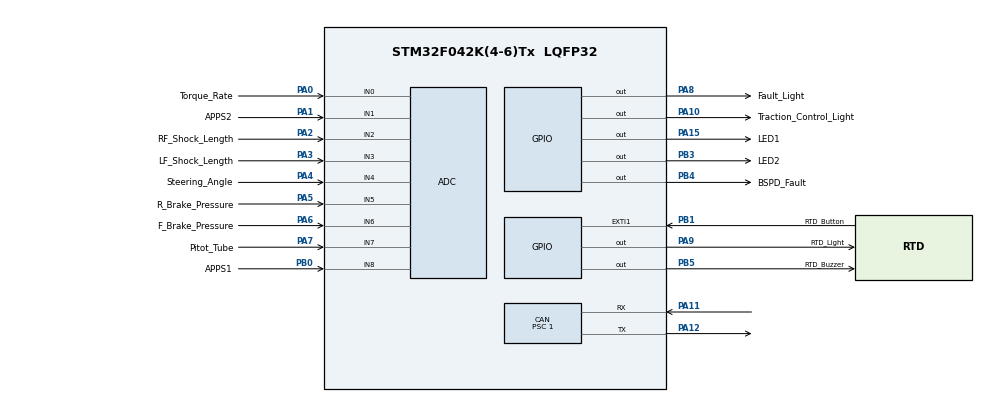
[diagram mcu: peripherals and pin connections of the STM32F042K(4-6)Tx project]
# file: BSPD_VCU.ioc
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ADC.ContinuousConvMode=DISABLE
ADC.DMAContinuousRequests=ENABLE
ADC.EOCSelection=ADC_EOC_SINGLE_CONV
ADC.EnableAnalogWatchDog=false
ADC.ExternalTrigConv=ADC_EXTERNALTRIGCONV_T1_TRGO
ADC.SamplingTime=ADC_SAMPLETIME_239CYCLES_5
CAN.ABOM=ENABLE
CAN.AWUM=ENABLE
CAN.BS1=CAN_BS1_13TQ
CAN.BS2=CAN_BS2_2TQ
CAN.CalculateBaudRate=500000
CAN.CalculateTimeBit=2000
CAN.CalculateTimeQuantum=125.0
CAN.NART=ENABLE
CAN.Prescaler=1
CAN.TXFP=ENABLE
Dma.ADC.0.Direction=DMA_PERIPH_TO_MEMORY
Dma.ADC.0.Instance=DMA1_Channel1
Dma.ADC.0.MemDataAlignment=DMA_MDATAALIGN_HALFWORD
Dma.ADC.0.MemInc=DMA_MINC_ENABLE
Dma.ADC.0.Mode=DMA_CIRCULAR
Dma.ADC.0.PeriphDataAlignment=DMA_PDATAALIGN_HALFWORD
Dma.ADC.0.PeriphInc=DMA_PINC_DISABLE
Dma.ADC.0.Priority=DMA_PRIORITY_LOW
Dma.Request0=ADC
Mcu.Family=STM32F0
Mcu.Name=STM32F042K(4-6)Tx
Mcu.Package=LQFP32
NVIC.CEC_CAN_IRQn=true\:0\:0\:false\:false\:true\:true\:true\:true
NVIC.DMA1_Channel1_IRQn=true\:0\:0\:false\:false\:true\:false\:true\:true
NVIC.EXTI0_1_IRQn=true\:0\:0\:false\:false\:true\:true\:true\:true
NVIC.TIM14_IRQn=true\:0\:0\:false\:false\:true\:true\:true\:true
NVIC.TIM1_BRK_UP_TRG_COM_IRQn=true\:0\:0\:false\:false\:true\:true\:true\:true
PA0.GPIO_Label=Torque_Rate
PA0.Mode=IN0
PA0.Signal=ADC_IN0
PA1.GPIO_Label=APPS2
PA1.Mode=IN1
PA1.Signal=ADC_IN1
PA10.GPIO_Label=Traction_Control_Light
PA10.Signal=GPIO_Output
PA11.Mode=CAN_Activate
PA11.Signal=CAN_RX
PA12.Mode=CAN_Activate
PA12.Signal=CAN_TX
PA13.Mode=Serial_Wire
PA13.Signal=SYS_SWDIO
PA14.Mode=Serial_Wire
PA14.Signal=SYS_SWCLK
PA15.GPIO_Label=LED1
PA15.Signal=GPIO_Output
PA2.GPIO_Label=RF_Shock_Length
PA2.Mode=IN2
PA2.Signal=ADC_IN2
PA3.GPIO_Label=LF_Shock_Length
PA3.Mode=IN3
PA3.Signal=ADC_IN3
PA4.GPIO_Label=Steering_Angle
PA4.Mode=IN4
PA4.Signal=ADC_IN4
PA5.GPIO_Label=R_Brake_Pressure
PA5.Mode=IN5
PA5.Signal=ADC_IN5
PA6.GPIO_Label=F_Brake_Pressure
PA6.Mode=IN6
PA6.Signal=ADC_IN6
PA7.GPIO_Label=Pitot_Tube
PA7.Mode=IN7
PA7.Signal=ADC_IN7
PA8.GPIO_Label=Fault_Light
PA8.Signal=GPIO_Output
PA9.GPIO_Label=RTD_Light
PA9.Signal=GPIO_Output
PB0.GPIO_Label=APPS1
PB0.Mode=IN8
PB0.Signal=ADC_IN8
PB1.GPIO_Label=RTD_Button
PB1.GPIO_PuPd=GPIO_PULLUP
PB1.Signal=GPXTI1
PB3.GPIO_Label=LED2
PB3.Signal=GPIO_Output
PB4.GPIO_Label=BSPD_Fault
PB4.Signal=GPIO_Output
PB5.GPIO_Label=RTD_Buzzer
PB5.Signal=GPIO_Output
ProjectManager.HeapSize=0x200
ProjectManager.StackSize=0x400
ProjectManager.TargetToolchain=STM32CubeIDE
TIM1.AutoReloadPreload=TIM_AUTORELOAD_PRELOAD_ENABLE
TIM1.Period=500-1
TIM1.Prescaler=8000-1
TIM1.TIM_MasterOutputTrigger=TIM_TRGO_UPDATE
TIM1.TIM_MasterSlaveMode=TIM_MASTERSLAVEMODE_DISABLE
TIM14.Period=95-1
TIM14.Prescaler=8000-1
TIM17.Period=2000-1
TIM17.Prescaler=8000-1
VP_TIM14_VS_ClockSourceINT.Mode=Enable_Timer
VP_TIM14_VS_OPM.Mode=OPM_bit
VP_TIM17_VS_ClockSourceINT.Mode=Enable_Timer
VP_TIM17_VS_OPM.Mode=OPM_bit
VP_TIM1_VS_ClockSourceINT.Mode=Internal
board=custom

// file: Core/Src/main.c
/* USER CODE BEGIN Header */
/**
 ******************************************************************************
 * @file           : main.c
 * @brief          : Main program body
 ******************************************************************************
 * @attention
 *
 * Copyright (c) 2022 STMicroelectronics.
 * All rights reserved.
 *
 * This software is licensed under terms that can be found in the LICENSE file
 * in the root directory of this software component.
 * If no LICENSE file comes with this software, it is provided AS-IS.
 *
 ******************************************************************************
 */
/* USER CODE END Header */
#include "main.h"

/* USER CODE BEGIN Includes */
#include <stdbool.h>
#include <stdlib.h>
#include <math.h>
/* USER CODE END Includes */

/* USER CODE BEGIN PD */

#define TORQUE_RATE_KNOB 0
#define APPS2 1
#define RF_SHOCK_LENGTH 2
#define LF_SHOCK_LENGTH 3
#define STEERING_ANGLE 4
#define R_BRAKE_PRESS 5
#define F_BRAKE_PRESS 6
#define PITOT_TUBE 7
#define APPS1 8

#define APPS1_MIN 0
#define APPS1_MAX 3.3
#define APPS2_MIN 0
#define APPS2_MAX 3.3

//define limits of the "max torque" knob
#define MAX_TORQUE_MAX 200
#define MAX_TORQUE_MIN 10

//What 0V and 3.3V correspond to for brake pressure sensor
#define MAX_BRAKE_PRESS 1800
#define MIN_BRAKE_PRESS (-200)

//minimum brake pressure defined as "brakes on"
#define BRAKE_THRESH_PSI 100

/* USER CODE END PD */

 ADC_HandleTypeDef hadc;
DMA_HandleTypeDef hdma_adc;

CAN_HandleTypeDef hcan;

TIM_HandleTypeDef htim1;
TIM_HandleTypeDef htim14;
TIM_HandleTypeDef htim17;

void SystemClock_Config(void);
static void MX_GPIO_Init(void);
static void MX_ADC_Init(void);
static void MX_DMA_Init(void);
static void MX_CAN_Init(void);
static void MX_TIM17_Init(void);
static void MX_TIM14_Init(void);
static void MX_TIM1_Init(void);

/* USER CODE BEGIN 0 */

//Sensor data will automatically be placed in here through DMA
volatile uint16_t raw_sensors[9];
uint8_t low_cell_temps[6];
uint8_t avg_cell_temps[6];
uint8_t high_cell_temps[6];

float get_sensor(uint8_t sensor) {
	return raw_sensors[sensor] * 3.3 / 4096;
}

bool apps_implausible;
bool apps_brake_implausible;

//convert voltage into a brake pressure value
uint16_t volt_to_brake_press(float sensor) {
	return sensor / 3.3 * (MAX_BRAKE_PRESS - MIN_BRAKE_PRESS) + MIN_BRAKE_PRESS;
}

//motor speed from motor controller
uint16_t motor_speed;

//Outgoing CANbus header data
CAN_TxHeaderTypeDef apps_header;
CAN_TxHeaderTypeDef shock_length_header;
CAN_TxHeaderTypeDef brake_press_header;
CAN_TxHeaderTypeDef bspd_diag_header;
CAN_TxHeaderTypeDef torque_command_header;

bool ready_to_drive;

/* USER CODE END 0 */

int main(void)
{

  /* MCU Configuration--------------------------------------------------------*/

  /* Reset of all peripherals, Initializes the Flash interface and the Systick. */
  HAL_Init();

  /* Configure the system clock */
  SystemClock_Config();

  /* Initialize all configured peripherals */
  MX_GPIO_Init();
  MX_ADC_Init();
  MX_DMA_Init();
  MX_CAN_Init();
  MX_TIM17_Init();
  MX_TIM14_Init();
  MX_TIM1_Init();
  /* USER CODE BEGIN 2 */

	ready_to_drive = false;

	apps_header.IDE = CAN_ID_STD;
	apps_header.StdId = 0x10;
	apps_header.RTR = CAN_RTR_DATA;
	apps_header.DLC = 8;

	shock_length_header.IDE = CAN_ID_STD;
	shock_length_header.StdId = 0x11;
	shock_length_header.RTR = CAN_RTR_DATA;
	shock_length_header.DLC = 8;

	brake_press_header.IDE = CAN_ID_STD;
	brake_press_header.StdId = 0x12;
	brake_press_header.RTR = CAN_RTR_DATA;
	brake_press_header.DLC = 8;

	bspd_diag_header.IDE = CAN_ID_STD;
	bspd_diag_header.StdId = 0x13;
	bspd_diag_header.RTR = CAN_RTR_DATA;
	bspd_diag_header.DLC = 1;

	torque_command_header.IDE = CAN_ID_STD;
	torque_command_header.StdId = 0xC0;
	torque_command_header.RTR = CAN_RTR_DATA;
	torque_command_header.DLC = 8;

	//Configure the CAN filter.
	//This filters out all the can messages we don't want to listen to.
	CAN_FilterTypeDef can_filter_config;
	can_filter_config.FilterActivation = CAN_FILTER_DISABLE;
	can_filter_config.SlaveStartFilterBank = 13;
	can_filter_config.FilterBank = 13;
	can_filter_config.FilterFIFOAssignment = CAN_FILTER_FIFO0;
	can_filter_config.FilterMode = CAN_FILTERMODE_IDMASK;
	can_filter_config.FilterScale = CAN_FILTERSCALE_32BIT;
	can_filter_config.FilterIdHigh = (0x0A5)<<5;
	can_filter_config.FilterIdLow = 0x0;
	can_filter_config.FilterMaskIdHigh = (0x0A5)<<5;
	can_filter_config.FilterMaskIdLow = 0x0000;

	//enable CANbus filter config
	if (HAL_CAN_ConfigFilter(&hcan, &can_filter_config) != HAL_OK) {
		Error_Handler();
	}

//	if (HAL_CAN_ActivateNotification(&hcan, CAN_IT_RX_FIFO0_MSG_PENDING) != HAL_OK) {
//		Error_Handler();
//	}

	//start CANbus port
	if (HAL_CAN_Start(&hcan) != HAL_OK) {
		Error_Handler();
	}

	HAL_GPIO_WritePin(LED1_GPIO_Port, LED1_Pin, GPIO_PIN_SET);

	HAL_ADC_Start_DMA(&hadc, (uint32_t *) raw_sensors, 9);
	HAL_TIM_Base_Start_IT(&htim1);

	uint32_t tx_mailbox;
	uint8_t tx_test_data[8] = {0x00, 0x22, 0x44, 0x66, 0x88, 0xAA, 0xCC, 0xEE};
	if (HAL_CAN_AddTxMessage(&hcan, &torque_command_header, tx_test_data, &tx_mailbox) != HAL_OK) {
		Error_Handler();
	}
  /* USER CODE END 2 */

  /* Infinite loop */
  /* USER CODE BEGIN WHILE */
	do {
    /* USER CODE END WHILE */

    /* USER CODE BEGIN 3 */

	} while (1);
  /* USER CODE END 3 */
}

void SystemClock_Config(void)
{
  RCC_OscInitTypeDef RCC_OscInitStruct = {0};
  RCC_ClkInitTypeDef RCC_ClkInitStruct = {0};

  /** Initializes the RCC Oscillators according to the specified parameters
  * in the RCC_OscInitTypeDef structure.
  */
  RCC_OscInitStruct.OscillatorType = RCC_OSCILLATORTYPE_HSI|RCC_OSCILLATORTYPE_HSI14;
  RCC_OscInitStruct.HSIState = RCC_HSI_ON;
  RCC_OscInitStruct.HSI14State = RCC_HSI14_ON;
  RCC_OscInitStruct.HSICalibrationValue = RCC_HSICALIBRATION_DEFAULT;
  RCC_OscInitStruct.HSI14CalibrationValue = 16;
  RCC_OscInitStruct.PLL.PLLState = RCC_PLL_NONE;
  if (HAL_RCC_OscConfig(&RCC_OscInitStruct) != HAL_OK)
  {
    Error_Handler();
  }

  /** Initializes the CPU, AHB and APB buses clocks
  */
  RCC_ClkInitStruct.ClockType = RCC_CLOCKTYPE_HCLK|RCC_CLOCKTYPE_SYSCLK
                              |RCC_CLOCKTYPE_PCLK1;
  RCC_ClkInitStruct.SYSCLKSource = RCC_SYSCLKSOURCE_HSI;
  RCC_ClkInitStruct.AHBCLKDivider = RCC_SYSCLK_DIV1;
  RCC_ClkInitStruct.APB1CLKDivider = RCC_HCLK_DIV1;

  if (HAL_RCC_ClockConfig(&RCC_ClkInitStruct, FLASH_LATENCY_0) != HAL_OK)
  {
    Error_Handler();
  }
}

static void MX_ADC_Init(void)
{

  ADC_ChannelConfTypeDef sConfig = {0};

  /** Configure the global features of the ADC (Clock, Resolution, Data Alignment and number of conversion)
  */
  hadc.Instance = ADC1;
  hadc.Init.ClockPrescaler = ADC_CLOCK_ASYNC_DIV1;
  hadc.Init.Resolution = ADC_RESOLUTION_12B;
  hadc.Init.DataAlign = ADC_DATAALIGN_RIGHT;
  hadc.Init.ScanConvMode = ADC_SCAN_DIRECTION_FORWARD;
  hadc.Init.EOCSelection = ADC_EOC_SINGLE_CONV;
  hadc.Init.LowPowerAutoWait = DISABLE;
  hadc.Init.LowPowerAutoPowerOff = DISABLE;
  hadc.Init.ContinuousConvMode = DISABLE;
  hadc.Init.DiscontinuousConvMode = DISABLE;
  hadc.Init.ExternalTrigConv = ADC_EXTERNALTRIGCONV_T1_TRGO;
  hadc.Init.ExternalTrigConvEdge = ADC_EXTERNALTRIGCONVEDGE_RISING;
  hadc.Init.DMAContinuousRequests = ENABLE;
  hadc.Init.Overrun = ADC_OVR_DATA_PRESERVED;
  if (HAL_ADC_Init(&hadc) != HAL_OK)
  {
    Error_Handler();
  }

  /** Configure for the selected ADC regular channel to be converted.
  */
  sConfig.Channel = ADC_CHANNEL_0;
  sConfig.Rank = ADC_RANK_CHANNEL_NUMBER;
  sConfig.SamplingTime = ADC_SAMPLETIME_239CYCLES_5;
  if (HAL_ADC_ConfigChannel(&hadc, &sConfig) != HAL_OK)
  {
    Error_Handler();
  }

  /** Configure for the selected ADC regular channel to be converted.
  */
  sConfig.Channel = ADC_CHANNEL_1;
  if (HAL_ADC_ConfigChannel(&hadc, &sConfig) != HAL_OK)
  {
    Error_Handler();
  }

  /** Configure for the selected ADC regular channel to be converted.
  */
  sConfig.Channel = ADC_CHANNEL_2;
  if (HAL_ADC_ConfigChannel(&hadc, &sConfig) != HAL_OK)
  {
    Error_Handler();
  }

  /** Configure for the selected ADC regular channel to be converted.
  */
  sConfig.Channel = ADC_CHANNEL_3;
  if (HAL_ADC_ConfigChannel(&hadc, &sConfig) != HAL_OK)
  {
    Error_Handler();
  }

  /** Configure for the selected ADC regular channel to be converted.
  */
  sConfig.Channel = ADC_CHANNEL_4;
  if (HAL_ADC_ConfigChannel(&hadc, &sConfig) != HAL_OK)
  {
    Error_Handler();
  }

  /** Configure for the selected ADC regular channel to be converted.
  */
  sConfig.Channel = ADC_CHANNEL_5;
  if (HAL_ADC_ConfigChannel(&hadc, &sConfig) != HAL_OK)
  {
    Error_Handler();
  }

  /** Configure for the selected ADC regular channel to be converted.
  */
  sConfig.Channel = ADC_CHANNEL_6;
  if (HAL_ADC_ConfigChannel(&hadc, &sConfig) != HAL_OK)
  {
    Error_Handler();
  }

  /** Configure for the selected ADC regular channel to be converted.
  */
  sConfig.Channel = ADC_CHANNEL_7;
  if (HAL_ADC_ConfigChannel(&hadc, &sConfig) != HAL_OK)
  {
    Error_Handler();
  }

  /** Configure for the selected ADC regular channel to be converted.
  */
  sConfig.Channel = ADC_CHANNEL_8;
  if (HAL_ADC_ConfigChannel(&hadc, &sConfig) != HAL_OK)
  {
    Error_Handler();
  }

}

static void MX_CAN_Init(void)
{

  hcan.Instance = CAN;
  hcan.Init.Prescaler = 1;
  hcan.Init.Mode = CAN_MODE_NORMAL;
  hcan.Init.SyncJumpWidth = CAN_SJW_1TQ;
  hcan.Init.TimeSeg1 = CAN_BS1_13TQ;
  hcan.Init.TimeSeg2 = CAN_BS2_2TQ;
  hcan.Init.TimeTriggeredMode = DISABLE;
  hcan.Init.AutoBusOff = ENABLE;
  hcan.Init.AutoWakeUp = ENABLE;
  hcan.Init.AutoRetransmission = ENABLE;
  hcan.Init.ReceiveFifoLocked = DISABLE;
  hcan.Init.TransmitFifoPriority = ENABLE;
  if (HAL_CAN_Init(&hcan) != HAL_OK)
  {
    Error_Handler();
  }

}

static void MX_TIM1_Init(void)
{

  TIM_ClockConfigTypeDef sClockSourceConfig = {0};
  TIM_MasterConfigTypeDef sMasterConfig = {0};

  htim1.Instance = TIM1;
  htim1.Init.Prescaler = 8000-1;
  htim1.Init.CounterMode = TIM_COUNTERMODE_UP;
  htim1.Init.Period = 500-1;
  htim1.Init.ClockDivision = TIM_CLOCKDIVISION_DIV1;
  htim1.Init.RepetitionCounter = 0;
  htim1.Init.AutoReloadPreload = TIM_AUTORELOAD_PRELOAD_ENABLE;
  if (HAL_TIM_Base_Init(&htim1) != HAL_OK)
  {
    Error_Handler();
  }
  sClockSourceConfig.ClockSource = TIM_CLOCKSOURCE_INTERNAL;
  if (HAL_TIM_ConfigClockSource(&htim1, &sClockSourceConfig) != HAL_OK)
  {
    Error_Handler();
  }
  sMasterConfig.MasterOutputTrigger = TIM_TRGO_UPDATE;
  sMasterConfig.MasterSlaveMode = TIM_MASTERSLAVEMODE_DISABLE;
  if (HAL_TIMEx_MasterConfigSynchronization(&htim1, &sMasterConfig) != HAL_OK)
  {
    Error_Handler();
  }

}

static void MX_TIM14_Init(void)
{

  htim14.Instance = TIM14;
  htim14.Init.Prescaler = 8000-1;
  htim14.Init.CounterMode = TIM_COUNTERMODE_UP;
  htim14.Init.Period = 95-1;
  htim14.Init.ClockDivision = TIM_CLOCKDIVISION_DIV1;
  htim14.Init.AutoReloadPreload = TIM_AUTORELOAD_PRELOAD_DISABLE;
  if (HAL_TIM_Base_Init(&htim14) != HAL_OK)
  {
    Error_Handler();
  }
  if (HAL_TIM_OnePulse_Init(&htim14, TIM_OPMODE_SINGLE) != HAL_OK)
  {
    Error_Handler();
  }

}

static void MX_TIM17_Init(void)
{

  htim17.Instance = TIM17;
  htim17.Init.Prescaler = 8000-1;
  htim17.Init.CounterMode = TIM_COUNTERMODE_UP;
  htim17.Init.Period = 2000-1;
  htim17.Init.ClockDivision = TIM_CLOCKDIVISION_DIV1;
  htim17.Init.RepetitionCounter = 0;
  htim17.Init.AutoReloadPreload = TIM_AUTORELOAD_PRELOAD_DISABLE;
  if (HAL_TIM_Base_Init(&htim17) != HAL_OK)
  {
    Error_Handler();
  }
  if (HAL_TIM_OnePulse_Init(&htim17, TIM_OPMODE_SINGLE) != HAL_OK)
  {
    Error_Handler();
  }

}

static void MX_DMA_Init(void)
{

  /* DMA controller clock enable */
  __HAL_RCC_DMA1_CLK_ENABLE();

  /* DMA interrupt init */
  /* DMA1_Channel1_IRQn interrupt configuration */
  HAL_NVIC_SetPriority(DMA1_Channel1_IRQn, 0, 0);
  HAL_NVIC_EnableIRQ(DMA1_Channel1_IRQn);

}

static void MX_GPIO_Init(void)
{
  GPIO_InitTypeDef GPIO_InitStruct = {0};

  /* GPIO Ports Clock Enable */
  __HAL_RCC_GPIOA_CLK_ENABLE();
  __HAL_RCC_GPIOB_CLK_ENABLE();

  /*Configure GPIO pin Output Level */
  HAL_GPIO_WritePin(GPIOA, Fault_Light_Pin|RTD_Light_Pin|Traction_Control_Light_Pin|LED1_Pin, GPIO_PIN_RESET);

  /*Configure GPIO pin Output Level */
  HAL_GPIO_WritePin(GPIOB, LED2_Pin|BSPD_Fault_Pin|RTD_Buzzer_Pin, GPIO_PIN_RESET);

  /*Configure GPIO pin : RTD_Button_Pin */
  GPIO_InitStruct.Pin = RTD_Button_Pin;
  GPIO_InitStruct.Mode = GPIO_MODE_IT_RISING;
  GPIO_InitStruct.Pull = GPIO_PULLUP;
  HAL_GPIO_Init(RTD_Button_GPIO_Port, &GPIO_InitStruct);

  /*Configure GPIO pins : Fault_Light_Pin RTD_Light_Pin Traction_Control_Light_Pin LED1_Pin */
  GPIO_InitStruct.Pin = Fault_Light_Pin|RTD_Light_Pin|Traction_Control_Light_Pin|LED1_Pin;
  GPIO_InitStruct.Mode = GPIO_MODE_OUTPUT_PP;
  GPIO_InitStruct.Pull = GPIO_NOPULL;
  GPIO_InitStruct.Speed = GPIO_SPEED_FREQ_LOW;
  HAL_GPIO_Init(GPIOA, &GPIO_InitStruct);

  /*Configure GPIO pins : LED2_Pin BSPD_Fault_Pin RTD_Buzzer_Pin */
  GPIO_InitStruct.Pin = LED2_Pin|BSPD_Fault_Pin|RTD_Buzzer_Pin;
  GPIO_InitStruct.Mode = GPIO_MODE_OUTPUT_PP;
  GPIO_InitStruct.Pull = GPIO_NOPULL;
  GPIO_InitStruct.Speed = GPIO_SPEED_FREQ_LOW;
  HAL_GPIO_Init(GPIOB, &GPIO_InitStruct);

  /* EXTI interrupt init*/
  HAL_NVIC_SetPriority(EXTI0_1_IRQn, 0, 0);
  HAL_NVIC_EnableIRQ(EXTI0_1_IRQn);

}

/* USER CODE BEGIN 4 */

//Callback function for RTD button. If brakes are held, initiates RTD sequence
void HAL_GPIO_EXTI_CALLBACK(uint16_t GPIO_pin) {
	if (GPIO_pin == RTD_Button_Pin) {
		if (!ready_to_drive && (volt_to_brake_press(get_sensor(F_BRAKE_PRESS)) > BRAKE_THRESH_PSI)) {
			//turn on RTD buzzer
			HAL_GPIO_WritePin(RTD_Buzzer_GPIO_Port, RTD_Buzzer_Pin, GPIO_PIN_SET);

			//start RTD timer
			//HAL_TIM_Base_Start_IT(&htim17);
		}
	}
}

//Callback for all timers.
void HAL_TIM_PeriodElapsedCallback(TIM_HandleTypeDef *htim) {
	if (htim == &htim14) { //95ms oneshot timer for APPS plausibility
		if (apps_implausible) { //if apps is still implausible after 95 ms
			apps_implausible = 1;
		}
	}
	if (htim == &htim17) { //2000ms oneshot timer for RTD button
		//turn off buzzer
		HAL_GPIO_WritePin(RTD_Buzzer_GPIO_Port, RTD_Buzzer_Pin, GPIO_PIN_RESET);

		//go into ready to drive mode
		ready_to_drive = true;

		//start htim1, which starts the ADC DMA, which triggers the sending of sensor data to canbus
		HAL_ADC_Start_DMA(&hadc, (uint32_t *) raw_sensors, 9);
		HAL_TIM_Base_Start_IT(&htim1);
	}
}

//Sends adc info over CANbus.
//ADC events are automatically triggered by htim1.
//After the data gets DMA'd into RAM, this function is called.
void HAL_ADC_ConvCpltCallback(ADC_HandleTypeDef* hadc) {

	uint32_t tx_mailbox;
	uint8_t tx_test_data[8] = {0x00, 0x22, 0x44, 0x66, 0x88, 0xAA, 0xCC, 0xEE};
	if (HAL_CAN_AddTxMessage(&hcan, &torque_command_header, tx_test_data, &tx_mailbox) != HAL_OK) {
		Error_Handler();
	}

	while (HAL_CAN_IsTxMessagePending(&hcan, tx_mailbox) != 0) {}

	HAL_GPIO_WritePin(LED1_GPIO_Port, LED1_Pin, HAL_GPIO_RESET);
	//get sensor values
	//ADC is constantly happening through DMA, so we don't have to manually scan in the values

	//APPS are values between 0 and 1
	float apps1 = (get_sensor(APPS1) - APPS1_MIN) / (APPS1_MAX - APPS1_MIN);
	float apps2 = (get_sensor(APPS2) - APPS2_MIN) / (APPS2_MAX - APPS2_MIN);
	float rf_shock_length = get_sensor(RF_SHOCK_LENGTH);
	float lf_shock_length = get_sensor(LF_SHOCK_LENGTH);
	float steering_angle = get_sensor(STEERING_ANGLE);
	uint16_t r_brake_pressure = volt_to_brake_press(get_sensor(R_BRAKE_PRESS));
	uint16_t f_brake_pressure = volt_to_brake_press(get_sensor(F_BRAKE_PRESS));
	//float pitot_tube = get_sensor(PITOT_TUBE);
	//float torque_rate_knob = get_sensor(0);
	//printf("%f\n", ((i / 4096.0 - 100/300) * (300 - 100)) + 100)
	float torque_rate_knob = (get_sensor(TORQUE_RATE_KNOB) / 4096.0 - (MAX_TORQUE_MIN * 1.0 /MAX_TORQUE_MAX))
					* (MAX_TORQUE_MAX - MAX_TORQUE_MIN) + MAX_TORQUE_MIN;

	//APPS plausibility check
	if (fabs(apps1 - apps2) > 0.1) {
		apps_implausible = 2;
	} else if (apps_implausible == 1) {
		apps_implausible = false;
	}

	//APPS/brake pedal plausibility check
	if ((apps1 > .25 || apps2 > .25)
			&& (f_brake_pressure > BRAKE_THRESH_PSI || r_brake_pressure > BRAKE_THRESH_PSI)) {
		apps_brake_implausible = true;
	}

	//calculate torque_request
	int16_t torque_request = ready_to_drive * ((apps1 + apps2) / 2) * torque_rate_knob;

	if (apps_implausible == 1) {
		torque_request = 0;
	}

	//create CANbus buffers
	uint32_t apps[2] = {apps1, apps2};
	uint32_t shock_lengths[2] = {lf_shock_length, rf_shock_length};
	uint16_t brake_steering[4] = {f_brake_pressure, r_brake_pressure, ((uint32_t) steering_angle) & 0xffff, ((uint32_t)steering_angle) >> 16};
	uint8_t torque_command[8] =
	{
			(uint8_t) torque_request, (uint8_t) (torque_request >> 8), //torque command (bit bashing used to force the bytes into the right order)
			0x00, 0x00,//speed command (not used)
			0x01, //Hard coded to always go forwards
			ready_to_drive | ((!ready_to_drive) << 1) | (0 << 2), //inverter enable | discharge enable
			0x00, 0x00 //commanded torque limit (0 uses default values)
	};

	//while (HAL_CAN_GetTxMailboxesFreeLevel(&hcan) < 2) {asm("NOP");asm("NOP");asm("NOP");asm("NOP");asm("NOP");}

	//transmit sensor data to CANbus.
	//while loops make it wait for can message to be sent before pushing another one
	if (HAL_CAN_AddTxMessage(&hcan, &apps_header, (uint8_t *) apps, &tx_mailbox) != HAL_OK) {
		Error_Handler();
	}

	while (HAL_CAN_IsTxMessagePending(&hcan, tx_mailbox)) {HAL_Delay(1);}

	if (HAL_CAN_AddTxMessage(&hcan, &shock_length_header, (uint8_t *) shock_lengths, &tx_mailbox) != HAL_OK) {
		Error_Handler();
	}

	while (HAL_CAN_IsTxMessagePending(&hcan, tx_mailbox)) {HAL_Delay(1);}

	if (HAL_CAN_AddTxMessage(&hcan, &brake_press_header, (uint8_t *) brake_steering, &tx_mailbox) != HAL_OK) {
		Error_Handler();
	}

	while (HAL_CAN_IsTxMessagePending(&hcan, tx_mailbox)) {HAL_Delay(1);}

	if (HAL_CAN_AddTxMessage(&hcan, &torque_command_header, (uint8_t *) torque_command, &tx_mailbox) != HAL_OK) {
		Error_Handler();
	}

	while (HAL_CAN_IsTxMessagePending(&hcan, tx_mailbox)) {HAL_Delay(1);}
}

//CANbus RX callback for getting motor speed info
void HAL_CAN_RxFifo0MsgPendingCallback(CAN_HandleTypeDef *hcan1) {
	CAN_RxHeaderTypeDef rx_header;
	uint8_t rx_data[8];
	if (HAL_CAN_GetRxMessage(hcan1, CAN_RX_FIFO0, &rx_header, rx_data) != HAL_OK) {
		Error_Handler();
	} else {
		//if we're getting the motor position info packet, update the motor_speed value
		if (rx_header.StdId == 0x0A5) {
			motor_speed = rx_data[2] | (rx_data[3] << 8);
		}
	}
}

/* USER CODE END 4 */

void Error_Handler(void)
{
  /* USER CODE BEGIN Error_Handler_Debug */
	/* User can add his own implementation to report the HAL error return state */

	HAL_GPIO_WritePin(LED1_GPIO_Port, LED1_Pin, GPIO_PIN_RESET);
	HAL_GPIO_WritePin(LED2_GPIO_Port, LED2_Pin, GPIO_PIN_SET);
  /* USER CODE END Error_Handler_Debug */
}
